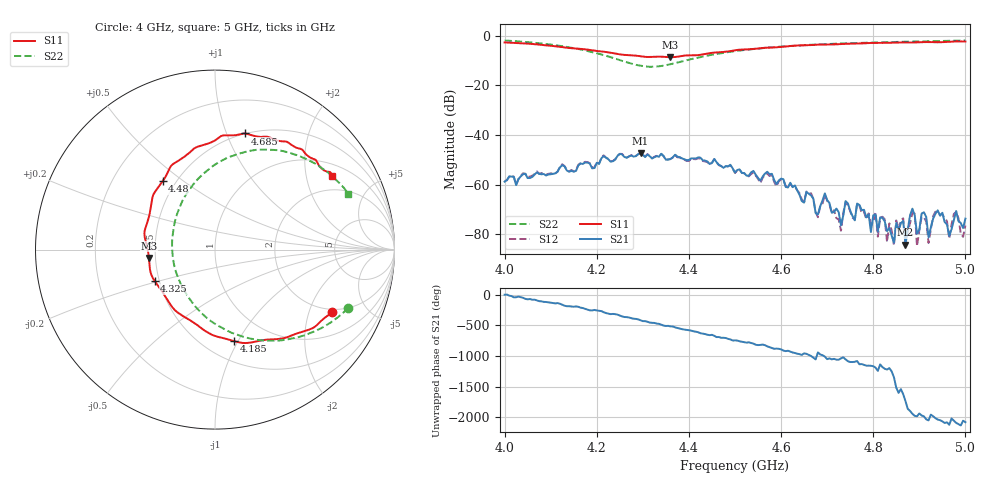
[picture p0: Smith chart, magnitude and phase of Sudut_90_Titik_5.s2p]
# Hz S RI R 50
! CMT, C1220, 16058040, 17.2.0/1
! Date: 15/08/2018 12:19:38
! Data: Format (Calibration Info)
! Freq  S11: Re/Im (F2)  S21: Re/Im (F2)  S12: Re/Im (F2)  S22: Re/Im (F2)
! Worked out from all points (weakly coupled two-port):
!   201 points, 4 GHz to 5 GHz, reference 50 ohm
!   highest |S21| = -47.26 dB at 4.295 GHz (marker M1); lowest = -84.3 dB at 4.87 GHz (marker M2)
!   lowest |S11| = -8.6 dB at 4.36 GHz (marker M3), VSWR 2.18, Z = 23 - j2.48 ohm
!   |S11| at or under -10 dB: nowhere
!   |S22| runs from -12.5 to -1.8 dB; largest |S21 - S12| = 0.00019
!   S11 on the Smith chart (normalised r, x): 4 GHz: 1.86, -2.87; 4.185 GHz: 0.69, -0.96; 4.325 GHz: 0.47, -0.19; 4.48 GHz: 0.42, +0.42; 4.685 GHz: 0.50, +1.16; 5 GHz: 1.41, +2.85
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4e9  0.6512 -0.3498  0.00114 7.45e-06  0.00118 3.38e-05  0.7407 -0.326
4.17e9  0.1542 -0.5199  -0.00204 0.00162  -0.00211 0.00168  0.1752 -0.4904
4.185e9  0.1067 -0.5102  -0.000682 0.00255  -0.000653 0.00261  0.1139 -0.4706
4.295e9  -0.2606 -0.287  0.00241 -0.0036  0.00243 -0.00364  -0.218 -0.1228
4.325e9  -0.3365 -0.1744  -0.000639 -0.0035  -0.000725 -0.00355  -0.2387 0.0045
4.335e9  -0.3535 -0.1427  -0.00157 -0.00327  -0.00167 -0.00327  -0.2388 0.0468
4.36e9  -0.3685 -0.0465  -0.00303 -0.00124  -0.00304 -0.00118  -0.2261 0.144
4.48e9  -0.2922 0.3801  0.00228 0.000551  0.00228 0.000542  -0.0152 0.4628
4.5e9  -0.2568 0.4438  0.00157 -0.000767  0.00156 -0.000709  0.0303 0.4919
4.67e9  0.1407 0.6427  0.000319 0.000406  0.000308 0.000411  0.3762 0.5493
4.685e9  0.1675 0.6471  -9.62e-05 0.000353  -1.86e-05 0.000369  0.4022 0.5425
4.73e9  0.2713 0.629  0.000112 0.0001  9.83e-05 6.23e-05  0.4698 0.5215
4.74e9  0.2892 0.6289  0.00042 0.000194  0.000385 0.00022  0.4832 0.516
4.835e9  0.4549 0.567  -6.18e-05 -0.000116  -0.000125 -0.000108  0.5988 0.4511
4.87e9  0.4952 0.5456  2.74e-05 5.48e-05  5.79e-05 3.67e-05  0.6346 0.4249
4.885e9  0.5169 0.5223  -0.00026 -0.000196  -0.000167 -0.000209  0.6494 0.4119
4.895e9  0.5355 0.5105  -0.000102 5.62e-06  -5.65e-05 7.12e-06  0.6589 0.4044
4.91e9  0.557 0.5024  -0.000275 1.77e-05  -0.000216 2.29e-05  0.671 0.3916
4.92e9  0.5641 0.4963  -2.93e-05 8.18e-05  -5.94e-06 6.57e-05  0.6804 0.3822
4.935e9  0.5757 0.474  -0.000213 0.000143  -0.00026 0.000111  0.6933 0.3706
4.965e9  0.6274 0.4339  7.13e-05 5.71e-05  8.45e-06 8e-05  0.7178 0.3448
5e9  0.6536 0.4097  3.29e-05 0.000202  4.01e-05 0.000144  0.7437 0.3109
